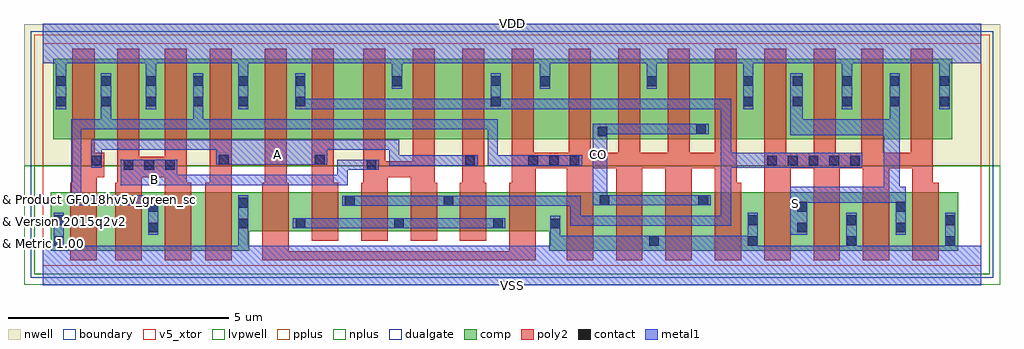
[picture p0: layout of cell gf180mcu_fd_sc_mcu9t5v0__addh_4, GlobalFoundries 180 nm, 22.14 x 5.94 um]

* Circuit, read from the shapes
.subckt gf180mcu_fd_sc_mcu9t5v0__addh_4 A B CO S VDD VSS
XM1 n1 A VSS VSUBS nfet_05v0 w=1.32u l=0.6u
XM2 n2 B n1 VSUBS nfet_05v0 w=1.32u l=0.6u
XM3 n3 B n2 VSUBS nfet_05v0 w=1.32u l=0.6u
XM4 VSS A n3 VSUBS nfet_05v0 w=1.32u l=0.6u
XM5 n4 n2 VSS VSUBS nfet_05v0 w=0.88u l=0.6u m=2
XM6 n5 A n4 VSUBS nfet_05v0 w=0.88u l=0.6u m=2
XM7 n4 B n5 VSUBS nfet_05v0 w=0.88u l=0.6u m=2
XM8 CO n2 VSS VSUBS nfet_05v0 w=1.32u l=0.6u m=4
XM9 S n5 VSS VSUBS nfet_05v0 w=1.32u l=0.6u m=4
XM10 n2 A VDD n6 pfet_05v0 w=1.83u l=0.5u m=2
XM11 VDD B n2 n6 pfet_05v0 w=1.83u l=0.5u m=2
XM12 n5 n2 VDD n6 pfet_05v0 w=1.83u l=0.5u m=2
XM13 n7 A n5 n6 pfet_05v0 w=1.83u l=0.5u
XM14 VDD B n7 n6 pfet_05v0 w=1.83u l=0.5u
XM15 n8 B VDD n6 pfet_05v0 w=1.83u l=0.5u
XM16 n5 A n8 n6 pfet_05v0 w=1.83u l=0.5u
XM17 CO n2 VDD n6 pfet_05v0 w=1.83u l=0.5u m=4
XM18 S n5 VDD n6 pfet_05v0 w=1.83u l=0.5u m=4
.ends

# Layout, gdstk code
import gdstk
lib = gdstk.Library(unit=1e-6, precision=1e-09)
def R(c, l, rs):  # rectangles x0, y0, x1, y1
    for r in rs: c.add(gdstk.rectangle(r[:2], r[2:], *l))
def A(c, l, x, y, w, h, nx, ny, dx, dy):  # array of equal rectangles
    R(c, l, [(x+i*dx, y+j*dy, x+i*dx+w, y+j*dy+h) for i in range(nx) for j in range(ny)])
def P(c, l, *ps):  # polygons
    for p in ps: c.add(gdstk.Polygon(p, *l))
boundary = (0, 0)
nwell = (21, 0)
comp = (22, 0)
poly2 = (30, 0)
pplus = (31, 0)
nplus = (32, 0)
contact = (33, 0)
metal1 = (34, 0)
dualgate = (55, 0)
v5_xtor = (112, 1)
lvpwell = (204, 0)

gf180mcu_fd_sc_mcu9t5v0_ = lib.new_cell('gf180mcu_fd_sc_mcu9t5v0__addh_4')
R(gf180mcu_fd_sc_mcu9t5v0_, boundary, [(0,0,21.28,5.04)])
R(gf180mcu_fd_sc_mcu9t5v0_, nwell, [(-0.43,2.265,21.71,5.47)])
R(gf180mcu_fd_sc_mcu9t5v0_, comp, [(0.23,2.865,20.63,4.695)])
P(gf180mcu_fd_sc_mcu9t5v0_, comp, [(0.18,0.34),(0.18,1.66),(20.76,1.66),(20.76,0.34),(11.48,0.34),(11.48,0.78),(4.68,0.78),(4.68,0.34)])
P(gf180mcu_fd_sc_mcu9t5v0_, poly2, [(0.62,0.12),(0.62,1.88),(0.67,1.88),(0.67,4.915),(1.17,4.915),(1.17,2.565),(1.395,2.565),(1.395,2.005),(1.22,2.005),(1.22,0.12)],
  [(1.64,0.12),(1.64,1.88),(1.69,1.88),(1.69,4.915),(2.19,4.915),(2.19,2.465),(2.76,2.465),(2.76,4.915),(3.26,4.915),(3.26,1.88),(3.36,1.88),(3.36,0.12),(2.76,0.12),(2.76,2.005),(2.24,2.005),(2.24,0.12)],
  [(3.68,0.12),(3.68,1.88),(3.78,1.88),(3.78,4.915),(4.28,4.915),(4.28,0.12)],
  [(6.1,0.56),(6.1,4.915),(6.6,4.915),(6.6,1.88),(6.7,1.88),(6.7,0.56)],
  [(7.22,0.56),(7.22,1.88),(7.27,1.88),(7.27,4.915),(7.77,4.915),(7.77,2.365),(8.39,2.365),(8.39,4.915),(8.89,4.915),(8.89,1.88),(8.94,1.88),(8.94,0.56),(8.34,0.56),(8.34,2.005),(7.82,2.005),(7.82,0.56)],
  [(9.46,0.56),(9.46,1.88),(9.51,1.88),(9.51,4.915),(10.01,4.915),(10.01,1.88),(10.06,1.88),(10.06,0.56)],
  [(4.98,0.12),(4.98,1.88),(5.03,1.88),(5.03,4.915),(5.53,4.915),(5.53,1.88),(5.58,1.88),(5.58,0.32),(10.58,0.32),(10.58,1.88),(10.63,1.88),(10.63,4.915),(11.13,4.915),(11.13,2.565),(11.93,2.565),(11.93,4.915),(12.43,4.915),(12.43,2.565),(13.05,2.565),(13.05,4.915),(13.55,4.915),(13.55,2.565),(14.17,2.565),(14.17,4.915),(14.67,4.915),(14.67,2.565),(15.24,2.565),(15.24,4.915),(15.74,4.915),(15.74,1.88),(15.84,1.88),(15.84,0.12),(15.24,0.12),(15.24,2.205),(14.72,2.205),(14.72,0.12),(14.12,0.12),(14.12,2.205),(13.6,2.205),(13.6,0.12),(13,0.12),(13,2.205),(12.48,2.205),(12.48,0.12),(11.88,0.12),(11.88,2.205),(11.18,2.205),(11.18,0.12)],
  [(16.36,0.12),(16.36,4.915),(16.86,4.915),(16.86,2.565),(17.48,2.565),(17.48,4.915),(17.98,4.915),(17.98,2.565),(18.56,2.565),(18.56,4.915),(19.06,4.915),(19.06,2.565),(19.69,2.565),(19.69,4.915),(20.19,4.915),(20.19,1.88),(20.32,1.88),(20.32,0.12),(19.72,0.12),(19.72,2.205),(19.2,2.205),(19.2,0.12),(18.6,0.12),(18.6,2.205),(18.08,2.205),(18.08,0.12),(17.48,0.12),(17.48,2.205),(16.96,2.205),(16.96,0.12)])
R(gf180mcu_fd_sc_mcu9t5v0_, pplus, [(-0.2,2.265,21.48,5.24)])
R(gf180mcu_fd_sc_mcu9t5v0_, nplus, [(-0.2,-0.2,21.48,2.265)])
A(gf180mcu_fd_sc_mcu9t5v0_, contact, 13.75, 0.45, 0.22, 0.22, 4, 1, 2.24, 0)
A(gf180mcu_fd_sc_mcu9t5v0_, contact, 5.73, 0.85, 0.22, 0.22, 3, 1, 2.24, 0)
A(gf180mcu_fd_sc_mcu9t5v0_, contact, 15.99, 0.92, 0.22, 0.22, 3, 1, 2.24, 0)
A(gf180mcu_fd_sc_mcu9t5v0_, contact, 1.83, 2.175, 0.22, 0.22, 3, 1, 0.47, 0)
A(gf180mcu_fd_sc_mcu9t5v0_, contact, 11.01, 2.275, 0.22, 0.22, 3, 1, 0.47, 0)
A(gf180mcu_fd_sc_mcu9t5v0_, contact, 16.43, 2.275, 0.22, 0.22, 5, 1, 0.47, 0)
A(gf180mcu_fd_sc_mcu9t5v0_, contact, 0.3, 3.61, 0.22, 0.22, 3, 2, 1.02, 0.47)
A(gf180mcu_fd_sc_mcu9t5v0_, contact, 15.89, 3.61, 0.22, 0.22, 3, 2, 1.12, 0.47)
R(gf180mcu_fd_sc_mcu9t5v0_, contact, [(0.25,0.45,0.47,0.67), (2.39,0.755,2.61,0.975), (17.11,0.755,17.33,0.975), (19.35,0.755,19.57,0.975), (4.43,0.845,4.65,1.065), (11.51,0.845,11.73,1.065), (0.25,0.92,0.47,1.14), (2.39,1.225,2.61,1.445), (17.11,1.225,17.33,1.445), (19.35,1.225,19.57,1.445), (4.43,1.315,4.65,1.535), (6.85,1.36,7.07,1.58), (9.09,1.36,9.31,1.58), (12.63,1.37,12.85,1.59), (14.87,1.37,15.09,1.59), (7.34,2.175,7.56,2.395), (1.105,2.275,1.325,2.495), (9.58,2.275,9.8,2.495), (3.99,2.29,4.21,2.51), (6.17,2.29,6.39,2.51), (12.58,2.935,12.8,3.155), (14.82,2.99,15.04,3.21), (3.41,3.61,3.63,3.83), (4.43,3.61,4.65,3.83), (5.73,3.61,5.95,3.83), (10.16,3.61,10.38,3.83), (19.21,3.61,19.43,3.83), (20.34,3.61,20.56,3.83), (7.92,4.07,8.14,4.29), (11.28,4.07,11.5,4.29), (13.7,4.07,13.92,4.29), (3.41,4.08,3.63,4.3), (4.43,4.08,4.65,4.3), (5.73,4.08,5.95,4.3), (10.16,4.08,10.38,4.3), (19.21,4.08,19.43,4.3), (20.34,4.08,20.56,4.3)])
R(gf180mcu_fd_sc_mcu9t5v0_, metal1, [(5.67,0.845,10.49,1.075)])
P(gf180mcu_fd_sc_mcu9t5v0_, metal1, [(1.77,1.825),(1.77,2.4),(3.05,2.4),(3.05,2.055),(6.68,2.055),(6.68,2.4),(7.62,2.4),(7.62,2.17),(6.91,2.17),(6.91,1.825)],
  [(1.1,2.215),(1.1,2.86),(8.08,2.86),(8.08,2.5),(9.86,2.5),(9.86,2.27),(7.85,2.27),(7.85,2.63),(6.45,2.63),(6.45,2.285),(3.93,2.285),(3.93,2.63),(1.33,2.63),(1.33,2.215)],
  [(2.385,0.695),(2.385,1.365),(0.64,1.365),(0.64,3.32),(1.315,3.32),(1.315,4.36),(1.545,4.36),(1.545,3.32),(3.405,3.32),(3.405,4.36),(3.635,4.36),(3.635,3.32),(10.32,3.32),(10.32,2.5),(12.23,2.5),(12.23,2.27),(10.09,2.27),(10.09,3.09),(0.87,3.09),(0.87,1.595),(2.615,1.595),(2.615,0.695)],
  [(12.47,1.365),(12.47,3.215),(15.1,3.215),(15.1,2.985),(12.805,2.985),(12.805,1.595),(15.15,1.595),(15.15,1.365)],
  [(11.965,0.905),(11.965,1.355),(6.79,1.355),(6.79,1.585),(12.195,1.585),(12.195,1.135),(15.38,1.135),(15.38,3.55),(5.725,3.55),(5.725,4.36),(5.955,4.36),(5.955,3.78),(10.155,3.78),(10.155,4.36),(10.385,4.36),(10.385,3.78),(15.61,3.78),(15.61,2.555),(18.59,2.555),(18.59,2.215),(15.61,2.215),(15.61,0.905)],
  [(16.95,0.695),(16.95,1.79),(19.075,1.79),(19.075,2.96),(16.95,2.96),(16.95,4.36),(17.235,4.36),(17.235,3.32),(19.205,3.32),(19.205,4.36),(19.435,4.36),(19.435,1.79),(19.575,1.79),(19.575,0.695),(19.345,0.695),(19.345,1.43),(17.335,1.43),(17.335,0.695)],
  [(0,-0.45),(0,0.45),(0.245,0.45),(0.245,1.2),(0.475,1.2),(0.475,0.45),(4.425,0.45),(4.425,1.595),(4.655,1.595),(4.655,0.45),(11.505,0.45),(11.505,1.125),(11.735,1.125),(11.735,0.675),(15.985,0.675),(15.985,1.2),(16.215,1.2),(16.215,0.45),(18.225,0.45),(18.225,1.2),(18.455,1.2),(18.455,0.45),(20.465,0.45),(20.465,1.2),(20.695,1.2),(20.695,0.45),(21.28,0.45),(21.28,-0.45)],
  [(0.295,3.55),(0.295,4.59),(0,4.59),(0,5.49),(21.28,5.49),(21.28,4.59),(20.565,4.59),(20.565,3.55),(20.335,3.55),(20.335,4.59),(18.355,4.59),(18.355,3.55),(18.125,3.55),(18.125,4.59),(16.115,4.59),(16.115,3.55),(15.885,3.55),(15.885,4.59),(13.925,4.59),(13.925,4.01),(13.695,4.01),(13.695,4.59),(11.505,4.59),(11.505,4.01),(11.275,4.01),(11.275,4.59),(8.145,4.59),(8.145,4.01),(7.915,4.01),(7.915,4.59),(4.655,4.59),(4.655,3.55),(4.425,3.55),(4.425,4.59),(2.565,4.59),(2.565,3.55),(2.335,3.55),(2.335,4.59),(0.525,4.59),(0.525,3.55)])
R(gf180mcu_fd_sc_mcu9t5v0_, dualgate, [(-0.28,-0.28,21.56,5.32)])
R(gf180mcu_fd_sc_mcu9t5v0_, v5_xtor, [(0,0,21.28,5.04)])
R(gf180mcu_fd_sc_mcu9t5v0_, lvpwell, [(-0.43,-0.43,21.71,2.265)])
gf180mcu_fd_sc_mcu9t5v0_.add(gdstk.Label('A', (5.32,2.52), layer=34, texttype=10))
gf180mcu_fd_sc_mcu9t5v0_.add(gdstk.Label('B', (2.52,1.96), layer=34, texttype=10))
gf180mcu_fd_sc_mcu9t5v0_.add(gdstk.Label('CO', (12.6,2.52), layer=34, texttype=10))
gf180mcu_fd_sc_mcu9t5v0_.add(gdstk.Label('S', (17.08,1.4), layer=34, texttype=10))
gf180mcu_fd_sc_mcu9t5v0_.add(gdstk.Label('VDD', (10.64,5.49), layer=34, texttype=10))
gf180mcu_fd_sc_mcu9t5v0_.add(gdstk.Label('VSS', (10.64,-0.45), layer=34, texttype=10))
gf180mcu_fd_sc_mcu9t5v0_.add(gdstk.Label('& Vendor GLOBALFOUNDRIES', (0,2), layer=63, texttype=63))
gf180mcu_fd_sc_mcu9t5v0_.add(gdstk.Label('& Product GF018hv5v_green_sc9', (0,1.5), layer=63, texttype=63))
gf180mcu_fd_sc_mcu9t5v0_.add(gdstk.Label('& Version 2015q2v2', (0,1), layer=63, texttype=63))
gf180mcu_fd_sc_mcu9t5v0_.add(gdstk.Label('& Metric 1.00', (0,0.5), layer=63, texttype=63))

lib.write_gds('gf180mcu_fd_sc_mcu9t5v0__addh_4.gds')
